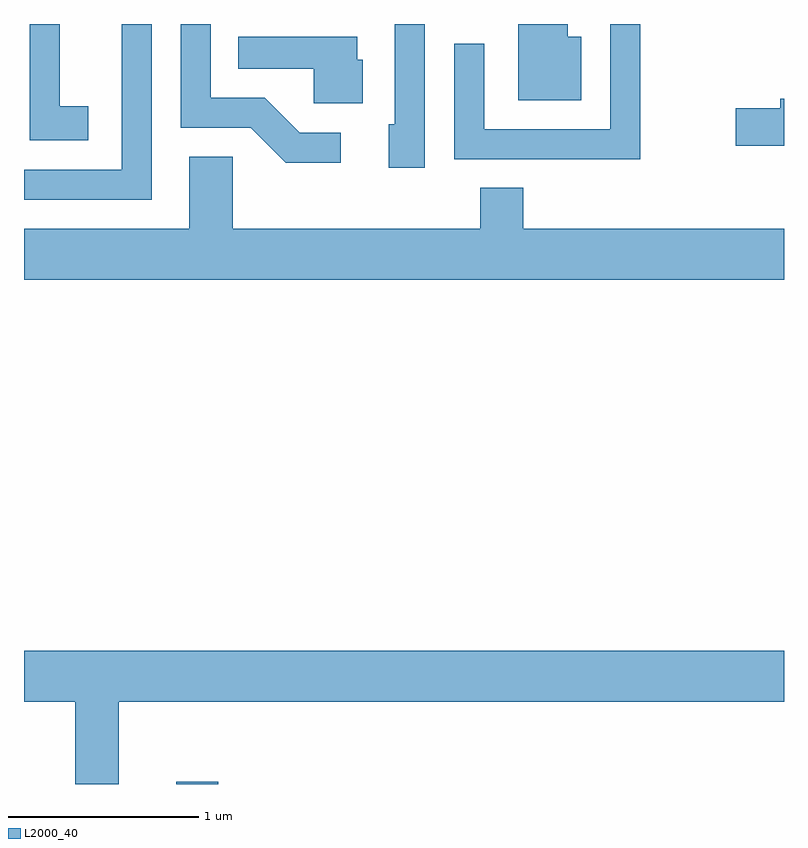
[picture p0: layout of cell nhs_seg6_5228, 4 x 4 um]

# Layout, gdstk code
import gdstk
lib = gdstk.Library(unit=1e-6, precision=1e-09)
def R(c, l, rs):  # rectangles x0, y0, x1, y1
    for r in rs: c.add(gdstk.rectangle(r[:2], r[2:], *l))
def P(c, l, *ps):  # polygons
    for p in ps: c.add(gdstk.Polygon(p, *l))
L2000_40 = (2000, 40)

nhs_seg6_5228 = lib.new_cell('nhs_seg6_5228')
R(nhs_seg6_5228, L2000_40, [(344.411,1656.162,344.634,1656.174)])
P(nhs_seg6_5228, L2000_40, [(345.278,1659.589),(345.062,1659.589),(344.877,1659.774),(344.594,1659.774),(344.594,1660.162),(344.436,1660.162),(344.436,1659.616),(344.804,1659.616),(344.989,1659.431),(345.278,1659.431)],
  [(343.949,1659.729),(343.799,1659.729),(343.799,1660.162),(343.641,1660.162),(343.641,1659.551),(343.949,1659.551)],
  [(346.854,1660.162),(346.696,1660.162),(346.696,1659.609),(346.034,1659.609),(346.034,1660.058),(345.876,1660.058),(345.876,1659.451),(346.854,1659.451)],
  [(344.284,1660.162),(344.126,1660.162),(344.126,1659.394),(343.611,1659.394),(343.611,1659.236),(344.284,1659.236)],
  [(345.719,1660.162),(345.561,1660.162),(345.561,1659.634),(345.531,1659.634),(345.531,1659.406),(345.719,1659.406)],
  [(346.544,1660.094),(346.474,1660.094),(346.474,1660.162),(346.211,1660.162),(346.211,1659.761),(346.544,1659.761)],
  [(345.394,1659.974),(345.364,1659.974),(345.364,1660.094),(344.738,1660.094),(344.738,1659.926),(345.136,1659.926),(345.136,1659.746),(345.394,1659.746)],
  [(347.611,1659.769),(347.591,1659.769),(347.591,1659.719),(347.356,1659.719),(347.356,1659.521),(347.611,1659.521)],
  [(347.611,1659.084),(346.239,1659.084),(346.239,1659.299),(346.011,1659.299),(346.011,1659.084),(344.709,1659.084),(344.709,1659.464),(344.481,1659.464),(344.481,1659.084),(343.611,1659.084),(343.611,1658.816),(347.611,1658.816)],
  [(344.109,1656.596),(347.611,1656.596),(347.611,1656.864),(343.611,1656.864),(343.611,1656.596),(343.881,1656.596),(343.881,1656.162),(344.109,1656.162)])

lib.write_gds('nhs_seg6_5228.gds')
